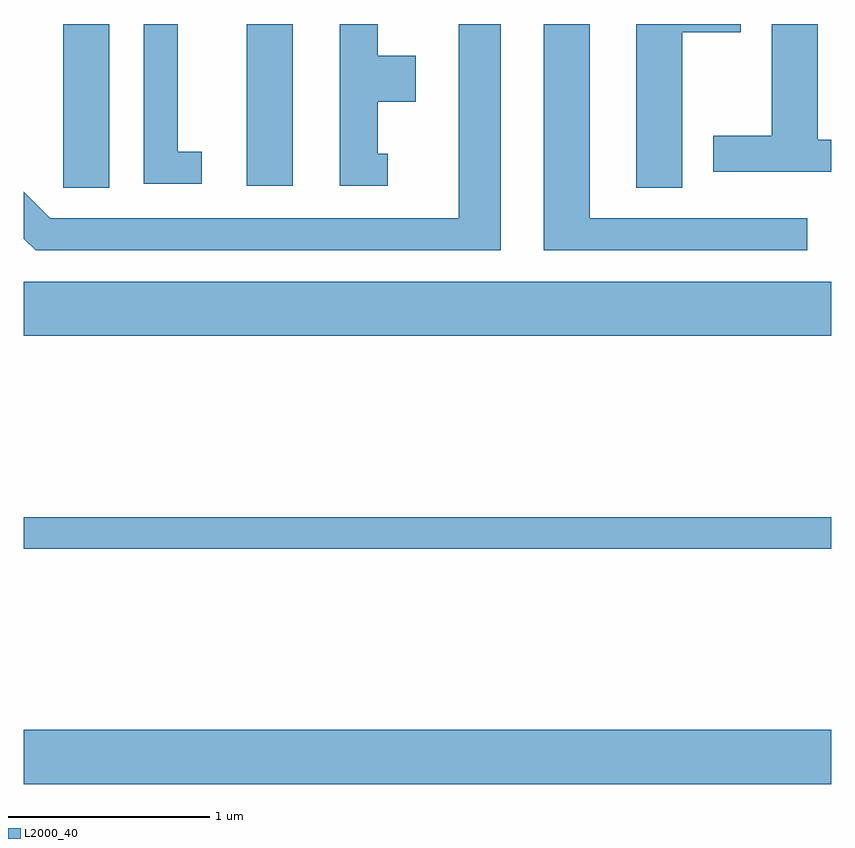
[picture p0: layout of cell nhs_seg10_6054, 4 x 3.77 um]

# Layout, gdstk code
import gdstk
lib = gdstk.Library(unit=1e-6, precision=1e-09)
def R(c, l, rs):  # rectangles x0, y0, x1, y1
    for r in rs: c.add(gdstk.rectangle(r[:2], r[2:], *l))
def P(c, l, *ps):  # polygons
    for p in ps: c.add(gdstk.Polygon(p, *l))
L2000_40 = (2000, 40)

nhs_seg10_6054 = lib.new_cell('nhs_seg10_6054')
R(nhs_seg10_6054, L2000_40, [(363.611,2162.756,367.611,2163.024), (363.611,2163.921,367.611,2164.079), (363.611,2164.976,367.611,2165.244), (363.806,2165.711,364.034,2166.522), (364.716,2165.721,364.944,2166.522)])
P(nhs_seg10_6054, L2000_40, [(364.493,2165.889),(364.374,2165.889),(364.374,2166.522),(364.206,2166.522),(364.206,2165.731),(364.493,2165.731)],
  [(367.493,2165.559),(366.414,2165.559),(366.414,2166.522),(366.186,2166.522),(366.186,2165.401),(367.493,2165.401)],
  [(366.874,2166.481),(367.164,2166.481),(367.164,2166.522),(366.646,2166.522),(366.646,2165.711),(366.874,2165.711)],
  [(365.974,2166.522),(365.766,2166.522),(365.766,2165.559),(363.742,2165.559),(363.611,2165.69),(363.611,2165.459),(363.669,2165.401),(365.974,2165.401)],
  [(367.611,2165.949),(367.544,2165.949),(367.544,2166.522),(367.316,2166.522),(367.316,2165.969),(367.026,2165.969),(367.026,2165.791),(367.611,2165.791)],
  [(365.413,2165.879),(365.364,2165.879),(365.364,2166.136),(365.554,2166.136),(365.554,2166.364),(365.364,2166.364),(365.364,2166.522),(365.176,2166.522),(365.176,2165.721),(365.413,2165.721)])

lib.write_gds('nhs_seg10_6054.gds')
